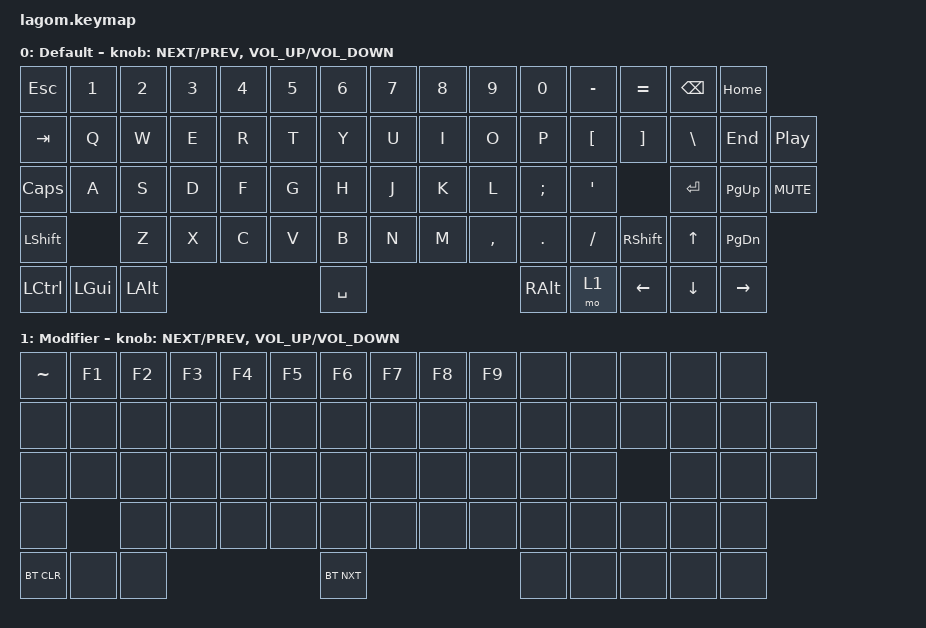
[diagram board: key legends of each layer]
/*
 * Copyright (c) 2020 The ZMK Contributors
 *
 * SPDX-License-Identifier: MIT
 */

#include <behaviors.dtsi>
#include <dt-bindings/zmk/keys.h>
#include <dt-bindings/zmk/bt.h>

/ {
    sensors {
        compatible = "zmk,keymap-sensors";
        sensors = <&encoder_1 &encoder_2>;
    };

    keymap {
        compatible = "zmk,keymap";

        default_layer {
            label = "Default";

            sensor-bindings = <&inc_dec_kp C_NEXT C_PREV &inc_dec_kp C_VOLUME_UP C_VOLUME_DOWN>;

            bindings = <
&kp ESC     &kp N1    &kp N2    &kp N3    &kp N4    &kp N5    &kp N6    &kp N7    &kp N8    &kp N9    &kp N0    &kp MINUS &kp EQUAL  &kp BSPC   &kp HOME
&kp TAB     &kp Q     &kp W     &kp E     &kp R     &kp T     &kp Y     &kp U     &kp I     &kp O     &kp P     &kp LBKT  &kp RBKT   &kp BSLH   &kp END    &kp C_PLAY_PAUSE
&kp CAPS    &kp A     &kp S     &kp D     &kp F     &kp G     &kp H     &kp J     &kp K     &kp L     &kp SEMI  &kp SQT              &kp RET    &kp PG_UP  &kp C_MUTE
&kp LSHFT             &kp Z     &kp X     &kp C     &kp V     &kp B     &kp N     &kp M     &kp COMMA &kp DOT   &kp FSLH  &kp RSHFT  &kp UP     &kp PG_DN
&kp LCTRL   &kp LGUI  &kp LALT                                &kp SPACE                               &kp RALT  &mo 1     &kp LEFT   &kp DOWN   &kp RIGHT
            >;
        };

        modifier_layer {
            label = "Modifier";

            sensor-bindings = <&inc_dec_kp C_NEXT C_PREV &inc_dec_kp C_VOLUME_UP C_VOLUME_DOWN>;

            bindings = <
&kp TILDE   &kp F1    &kp F2    &kp F3    &kp F4    &kp F5    &kp F6    &kp F7    &kp F8    &kp F9    &none     &none     &none      &none      &none
&none       &none     &none     &none     &none     &none     &none     &none     &none     &none     &none     &none     &none      &none      &none      &none
&none       &none     &none     &none     &none     &none     &none     &none     &none     &none     &none     &none     &none                 &none      &none
&none                 &none     &none     &none     &none     &none     &none     &none     &none     &none     &none     &none      &none      &none
&bt BT_CLR  &none     &none                                   &bt BT_NXT                              &none     &none     &none      &none      &none
            >;
        };

    };
};
